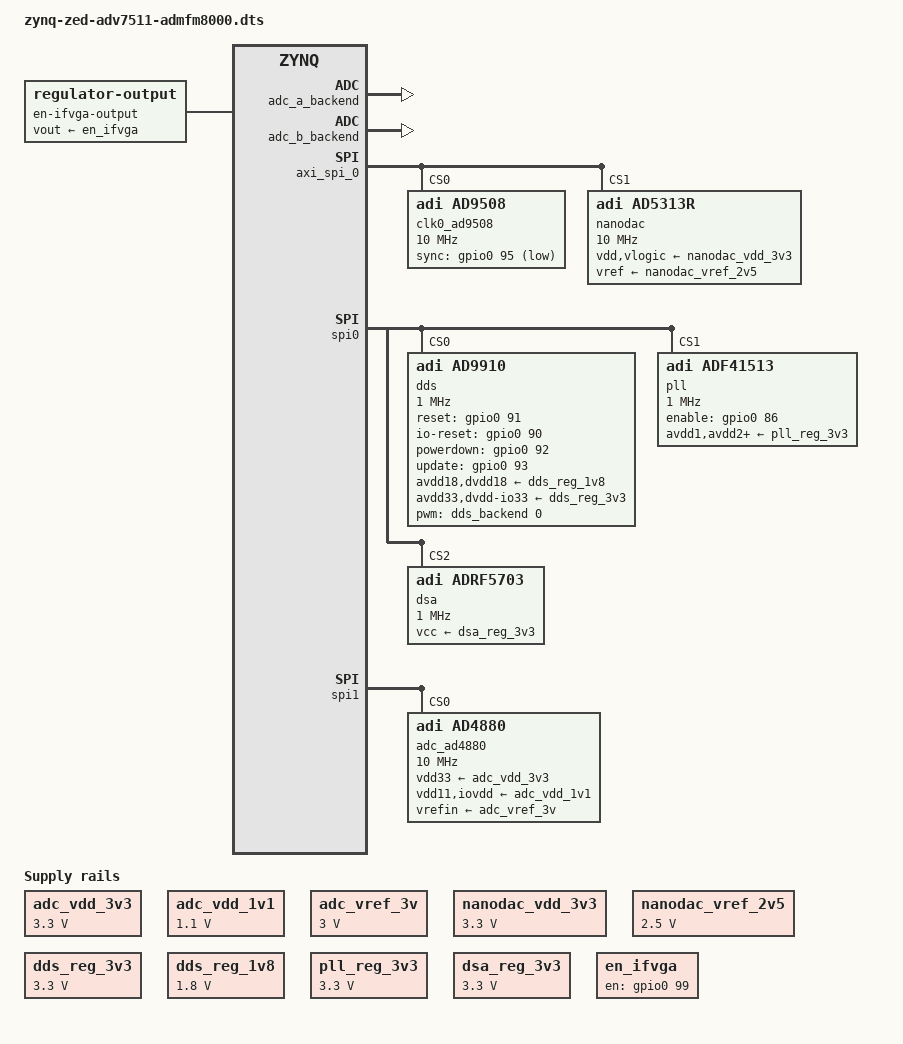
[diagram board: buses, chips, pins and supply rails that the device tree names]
// SPDX-License-Identifier: GPL-2.0
/*
 * Analog Devices ADMFM800X
 *
 * hdl_project: <admfm8000_evalz>
 * board_revision: <A>
 *
 * Copyright (C) 2026 Analog Devices Inc.
 */
/dts-v1/;

#include "zynq-zed.dtsi"
#include "zynq-zed-adv7511.dtsi"
#include <dt-bindings/gpio/gpio.h>
#include <dt-bindings/interrupt-controller/irq.h>
#include <dt-bindings/iio/frequency/ad9508.h>

/ {
	adc_vdd_3v3: adc-vdd-3v3 {
		compatible = "regulator-fixed";
		regulator-name = "adc-3v3";
		regulator-min-microvolt = <3300000>;
		regulator-max-microvolt = <3300000>;
		regulator-always-on;
	};

	adc_vdd_1v1: adc-vdd-1v1 {
		compatible = "regulator-fixed";
		regulator-name = "adc-1v1";
		regulator-min-microvolt = <1100000>;
		regulator-max-microvolt = <1100000>;
		regulator-always-on;
	};

	adc_vref_3v: adc-vref-3v {
		compatible = "regulator-fixed";
		regulator-name = "adc-3v";
		regulator-min-microvolt = <3000000>;
		regulator-max-microvolt = <3000000>;
		regulator-always-on;
	};

	nanodac_vdd_3v3: nanodac-vdd-3v3 {
		compatible = "regulator-fixed";
		regulator-name = "nanodac-3v3";
		regulator-min-microvolt = <3300000>;
		regulator-max-microvolt = <3300000>;
		regulator-always-on;
	};

	nanodac_vref_2v5: nanodac-vref-2v5 {
		compatible = "regulator-fixed";
		regulator-name = "nanodac-2v5";
		regulator-min-microvolt = <2500000>;
		regulator-max-microvolt = <2500000>;
		regulator-always-on;
	};

	dds_reg_3v3: dds-reg-3v3 {
		compatible = "regulator-fixed";
		regulator-name = "dds-3v3";
		regulator-min-microvolt = <3300000>;
		regulator-max-microvolt = <3300000>;
		regulator-always-on;
	};

	dds_reg_1v8: dds-reg-1v8 {
		compatible = "regulator-fixed";
		regulator-name = "dds-1v8";
		regulator-min-microvolt = <1800000>;
		regulator-max-microvolt = <1800000>;
		regulator-always-on;
	};

	pll_reg_3v3: pll-reg-3v3 {
		compatible = "regulator-fixed";
		regulator-name = "pll-3v3";
		regulator-min-microvolt = <3300000>;
		regulator-max-microvolt = <3300000>;
		regulator-always-on;
	};

	dsa_reg_3v3: dsa-reg-3v3 {
		compatible = "regulator-fixed";
		regulator-name = "dsa-3v3";
		regulator-min-microvolt = <3300000>;
		regulator-max-microvolt = <3300000>;
		regulator-always-on;
	};

	en_ifvga: en-ifvga {
		compatible = "regulator-fixed";
		regulator-name = "en_ifvga";
		gpio = <&gpio0 99 GPIO_ACTIVE_HIGH>;
		enable-active-high;
		regulator-boot-on;
	};

	en-ifvga-output {
		compatible = "regulator-output";
		vout-supply = <&en_ifvga>;
	};

	clocks {
		dds_clkin: clock-1ghz {
			#clock-cells = <0>;
			compatible = "fixed-clock";
			clock-frequency = <1000000000>; // 1GHz
		};

		pll_clkin: pll-clock {
			#clock-cells = <0>;
			compatible = "fixed-clock";
			clock-frequency = <80000000>; // 80MHz
		};

		adc_clk: adc-clk {
			#clock-cells = <0>;
			compatible = "fixed-clock";
			clock-frequency = <100000000>; // 100MHz
		};
	};

	iio_axi_tdd_0: iio-axi-tdd {
		compatible = "adi,iio-fake-platform-device";
		adi,faked-dev = <&axi_tdd>;
		adi,attribute-names =
			"version", "core_id", "scratch", "magic",
			"sync_soft", "sync_external", "sync_internal", "sync_reset",
			"enable", "startup_delay_raw", "startup_delay_ms",
			"burst_count", "frame_length_raw", "frame_length_ms",
			"state", "internal_sync_period_raw", "internal_sync_period_ms",
			"out_channel0_enable", "out_channel0_polarity",
			"out_channel0_on_raw", "out_channel0_on_ms",
			"out_channel0_off_raw", "out_channel0_off_ms",
			"out_channel1_enable", "out_channel1_polarity",
			"out_channel1_on_raw", "out_channel1_on_ms",
			"out_channel1_off_raw", "out_channel1_off_ms";
		label = "iio-axi-tdd-0";
	};
};

&fpga_axi {
	tx_dma: tx-dmac@44a10000 {
		compatible = "adi,axi-dmac-1.00.a";
		reg = <0x44a10000 0x1000>;
		#dma-cells = <1>;
		interrupt-parent = <&intc>;
		interrupts = <0 29 IRQ_TYPE_LEVEL_HIGH>;
		clocks = <&clkc 15>; // fclk0
	};

	rx_dma: rx-dmac@44a40000 {
		compatible = "adi,axi-dmac-1.00.a";
		reg = <0x44a40000 0x10000>;
		#dma-cells = <1>;
		interrupt-parent = <&intc>;
		interrupts = <0 31 IRQ_TYPE_LEVEL_HIGH>;
		clocks = <&clkc 15>;
	};

	dds_backend: axi-ad9910@44a00000 {
		compatible = "adi,axi-ad9910";
		reg = <0x44a00000 0x10000>;
		#pwm-cells = <1>;
		dmas = <&tx_dma 0>;
		dma-names = "tx";
		interrupt-parent = <&intc>;
		interrupts = <0 30 IRQ_TYPE_LEVEL_HIGH>;
	};

	adc_a_backend: axi-adc@44a20000 {
		compatible = "adi,axi-ad408x";
		reg = <0x44a20000 0x10000>;
		dmas = <&rx_dma 0>;
		dma-names = "rx";
		clocks = <&clkc 15>;
		#io-backend-cells = <0>;
	};

	adc_b_backend: axi-adc@44a30000 {
		compatible = "adi,axi-ad408x";
		reg = <0x44a30000 0x10000>;
		clocks = <&clkc 15>;
		#io-backend-cells = <0>;
	};

	axi_tdd: axi-tdd@44a50000 {
		compatible = "adi,axi-tdd";
		reg = <0x44a50000 0x400>;
		clocks = <&clkc 15>, <&adc_clk>;
		clock-names = "s_axi_aclk", "intf_clk";
	};

	axi_spi_0: spi@44a60000 {
		reg = <0x44a60000 0x10000>;
		compatible = "xlnx,axi-quad-spi-1.00.a";
		bits-per-word = <8>;
		clock-names = "ext_spi_clk", "s_axi_aclk";
		clocks = <&clkc 15>, <&clkc 15>;
		fifo-size = <16>;
		interrupt-names = "ip2intc_irpt";
		interrupt-parent = <&intc>;
		interrupts = <0 32 IRQ_TYPE_LEVEL_HIGH>;
		num-cs = <0x2>;
		xlnx,num-ss-bits = <0x2>;
		#address-cells = <1>;
		#size-cells = <0>;

		clk0_ad9508: ad9508@0 {
			#address-cells = <1>;
			#size-cells = <0>;
			#clock-cells = <1>;
			compatible = "adi,ad9508";
			reg = <0>;

			clocks = <&dds_clkin>;

			spi-max-frequency = <10000000>;
			clock-output-names = "ad9508-1_out0", "ad9508-1_out1",
					"ad9508-1_out2", "ad9508-1_out3";
			sync-gpios = <&gpio0 95 GPIO_ACTIVE_LOW>;

			ad9508_0_c0:channel@0 {
				reg = <0>;
				adi,extended-name = "CNV_B";
				adi,driver-mode = <(DRIVER_PHASE_NORMAL | DRIVER_MODE_LVDS_1_25)>;
				adi,divider-phase = <0>;
				adi,channel-divider = <50>;
			};

			ad9508_0_c1:channel@1 {
				reg = <1>;
				adi,extended-name = "CLK_B";
				adi,driver-mode = <(DRIVER_PHASE_NORMAL | DRIVER_MODE_LVDS_1_25)>;
				adi,divider-phase = <0>;
				adi,channel-divider = <5>;
			};

			ad9508_0_c2:channel@2 {
				reg = <2>;
				adi,extended-name = "CNV_A";
				adi,driver-mode = <(DRIVER_PHASE_NORMAL | DRIVER_MODE_LVDS_1_25)>;
				adi,divider-phase = <0>;
				adi,channel-divider = <50>;
			};

			ad9508_0_c3:channel@3 {
				reg = <3>;
				adi,extended-name = "CLK_A";
				adi,driver-mode = <(DRIVER_PHASE_NORMAL | DRIVER_MODE_LVDS_1_25)>;
				adi,divider-phase = <0>;
				adi,channel-divider = <5>;
			};
		};

		nanodac: ad5313r@1 {
			compatible = "adi,ad5313r";
			reg = <1>;
			spi-max-frequency = <10000000>;
			spi-cpha;
			vdd-supply = <&nanodac_vdd_3v3>;
			vlogic-supply = <&nanodac_vdd_3v3>;
			vref-supply = <&nanodac_vref_2v5>;
			adi,range-double;
		};
	};
};

&spi0 {
	status = "okay";

	dds: ad9910@0 {
		compatible = "adi,ad9910";
		reg = <0>;
		avdd18-supply = <&dds_reg_1v8>;
		avdd33-supply = <&dds_reg_3v3>;
		dvdd18-supply = <&dds_reg_1v8>;
		dvdd-io33-supply = <&dds_reg_3v3>;
		spi-max-frequency = <1000000>;
		clocks = <&dds_clkin>;
		clock-names = "ref_clk";

		reset-gpios = <&gpio0 91 GPIO_ACTIVE_HIGH>;
		io-reset-gpios = <&gpio0 90 GPIO_ACTIVE_HIGH>;
		powerdown-gpios = <&gpio0 92 GPIO_ACTIVE_HIGH>;
		update-gpios = <&gpio0 93 GPIO_ACTIVE_HIGH>;

		pwms = <&dds_backend 0>;
		pwm-names = "drctl";
		io-backends = <&dds_backend>;
	};

	pll: adf41513@1 {
		compatible = "adi,adf41513";
		reg = <1>;
		avdd1-supply = <&pll_reg_3v3>;
		avdd2-supply = <&pll_reg_3v3>;
		avdd3-supply = <&pll_reg_3v3>;
		avdd4-supply = <&pll_reg_3v3>;
		avdd5-supply = <&pll_reg_3v3>;
		vp-supply = <&pll_reg_3v3>;
		spi-max-frequency = <1000000>;
		clocks = <&pll_clkin>;
		enable-gpios = <&gpio0 86 GPIO_ACTIVE_HIGH>;
		adi,charge-pump-current-microamp = <4800>;
		adi,power-up-frequency-mhz = <1600>; /* 1.6 GHz */
	};

	dsa: adrf5703@2 {
		compatible = "adi,adrf5703";
		reg = <2>;
		vcc-supply = <&dsa_reg_3v3>;
		spi-max-frequency = <1000000>;
	};
};

&spi1 {
	status = "okay";

	adc_ad4880: adc@0 {
		compatible = "adi,ad4880";
		reg = <0>, <1>;

		spi-max-frequency = <10000000>;
		spi-cpol;
		spi-cpha;

		clocks = <&clk0_ad9508 2>;
		clock-names = "cnv";
		adi,lvds-cnv-enable;
		adi,num-lanes = <1>;
		vdd33-supply = <&adc_vdd_3v3>;
		vdd11-supply = <&adc_vdd_1v1>;
		iovdd-supply = <&adc_vdd_1v1>;
		vrefin-supply = <&adc_vref_3v>;
		io-backends = <&adc_a_backend>, <&adc_b_backend>;
	};
};
